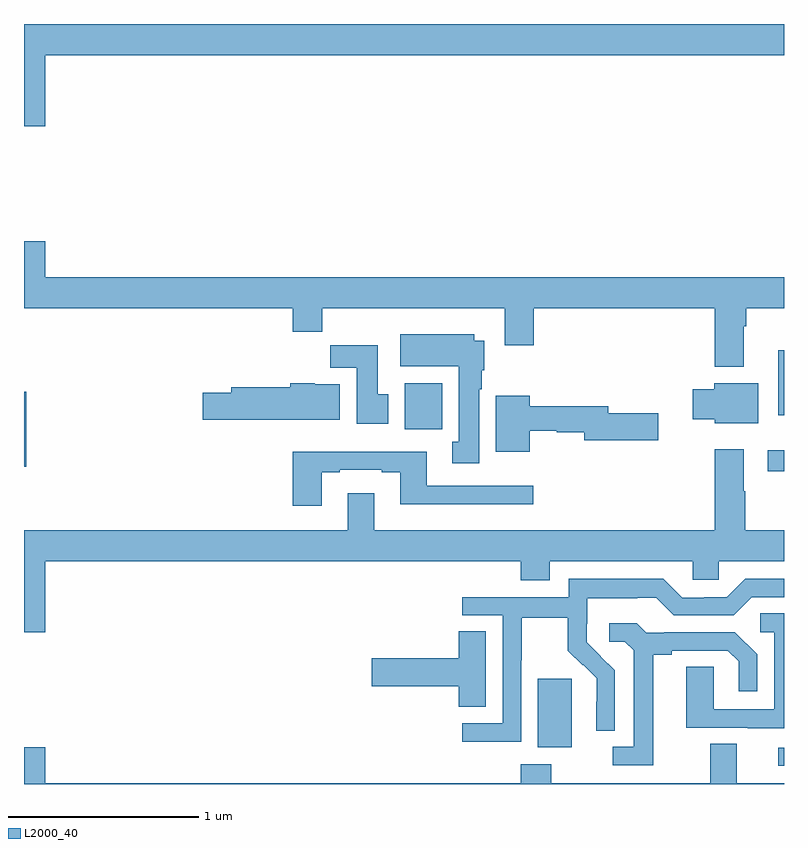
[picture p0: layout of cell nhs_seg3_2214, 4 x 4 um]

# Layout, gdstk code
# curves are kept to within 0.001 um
import gdstk
lib = gdstk.Library(unit=1e-6, precision=1e-09)
def R(c, l, rs):  # rectangles x0, y0, x1, y1
    for r in rs: c.add(gdstk.rectangle(r[:2], r[2:], *l))
def P(c, l, *ps):  # polygons
    for p in ps: c.add(gdstk.Polygon(p, *l))
L2000_40 = (2000, 40)

nhs_seg3_2214 = lib.new_cell('nhs_seg3_2214')
R(nhs_seg3_2214, L2000_40, [(228.969,710.496,229,710.592), (227.705,710.594,227.884,710.955), (228.915,712.047,229,712.157), (225,712.071,225.011,712.465), (227.003,712.268,227.2,712.51), (228.971,712.34,229,712.684)])
P(nhs_seg3_2214, L2000_40, [(225.112,714.236),(229,714.236),(229,714.4),(225,714.4),(225,713.862),(225.112,713.862)],
  [(228.787,712.808),(228.8,712.808),(228.8,712.904),(229,712.904),(229,713.068),(225.112,713.068),(225.112,713.257),(225,713.257),(225,712.904),(226.415,712.904),(226.415,712.78),(226.571,712.78),(226.571,712.904),(227.531,712.904),(227.531,712.71),(227.684,712.71),(227.684,712.904),(228.635,712.904),(228.635,712.595),(228.787,712.595)],
  [(227.395,712.478),(227.41,712.478),(227.41,712.578),(227.422,712.578),(227.422,712.732),(227.371,712.732),(227.371,712.768),(226.979,712.768),(226.979,712.598),(227.288,712.598),(227.288,712.202),(227.255,712.202),(227.255,712.089),(227.395,712.089)],
  [(226.918,712.452),(226.861,712.452),(226.861,712.71),(226.612,712.71),(226.612,712.592),(226.751,712.592),(226.751,712.296),(226.918,712.296)],
  [(228.865,712.51),(228.632,712.51),(228.632,712.477),(228.521,712.477),(228.521,712.319),(228.636,712.319),(228.636,712.298),(228.865,712.298)],
  [(226.663,712.504),(226.53,712.504),(226.53,712.51),(226.4,712.51),(226.4,712.488),(226.091,712.488),(226.091,712.458),(225.942,712.458),(225.942,712.316),(226.663,712.316)],
  [(227.662,712.26),(227.805,712.26),(227.805,712.252),(227.948,712.252),(227.948,712.21),(228.337,712.21),(228.337,712.352),(228.076,712.352),(228.076,712.388),(227.662,712.388),(227.662,712.444),(227.483,712.444),(227.483,712.148),(227.662,712.148)],
  [(226.843,711.931),(226.703,711.931),(226.703,711.736),(225,711.736),(225,711.198),(225.112,711.198),(225.112,711.572),(227.615,711.572),(227.615,711.473),(227.767,711.473),(227.767,711.572),(228.519,711.572),(228.519,711.474),(228.657,711.474),(228.657,711.572),(229,711.572),(229,711.736),(228.795,711.736),(228.795,711.941),(228.787,711.941),(228.787,712.162),(228.635,712.162),(228.635,711.736),(226.843,711.736)],
  [(226.567,712.041),(226.663,712.041),(226.663,712.053),(226.883,712.053),(226.883,712.041),(226.979,712.041),(226.979,711.872),(227.68,711.872),(227.68,711.969),(227.119,711.969),(227.119,712.15),(226.415,712.15),(226.415,711.864),(226.567,711.864)],
  [(227.616,711.052),(227.619,711.052),(227.619,711.276),(227.863,711.276),(227.863,711.101),(227.94,711.024),(227.943,711.027),(228.014,710.957),(228.014,710.834),(228.012,710.834),(228.012,710.68),(228.108,710.68),(228.108,710.998),(227.962,711.146),(227.962,711.243),(227.964,711.243),(227.964,711.377),(228.227,711.377),(228.227,711.381),(228.327,711.381),(228.42,711.288),(228.735,711.288),(228.831,711.384),(229,711.384),(229,711.48),(228.795,711.48),(228.699,711.384),(228.581,711.384),(228.581,711.381),(228.465,711.381),(228.365,711.481),(227.868,711.481),(227.868,711.384),(227.307,711.384),(227.307,711.288),(227.52,711.288),(227.52,710.721),(227.307,710.721),(227.307,710.623),(227.616,710.623)],
  [(229,711.299),(228.876,711.299),(228.876,711.198),(228.948,711.198),(228.948,710.793),(228.63,710.793),(228.63,711.017),(228.485,711.017),(228.485,710.697),(228.809,710.697),(228.809,710.693),(229,710.693)],
  [(228.313,711.08),(228.409,711.08),(228.409,711.102),(228.704,711.102),(228.761,711.045),(228.761,710.889),(228.858,710.889),(228.858,711.082),(228.742,711.198),(228.37,711.198),(228.37,711.195),(228.276,711.195),(228.224,711.247),(228.081,711.247),(228.081,711.15),(228.162,711.15),(228.209,711.103),(228.209,710.595),(228.099,710.595),(228.099,710.499),(228.313,710.499)],
  [(227.431,711.203),(227.288,711.203),(227.288,711.062),(226.83,711.062),(226.83,710.915),(227.288,710.915),(227.288,710.806),(227.431,710.806)],
  [(229,710.404),(228.751,710.404),(228.751,710.612),(228.611,710.612),(228.611,710.404),(227.775,710.404),(227.775,710.503),(227.615,710.503),(227.615,710.404),(225.112,710.404),(225.112,710.593),(225,710.593),(225,710.4),(229,710.4)])

lib.write_gds('nhs_seg3_2214.gds')
